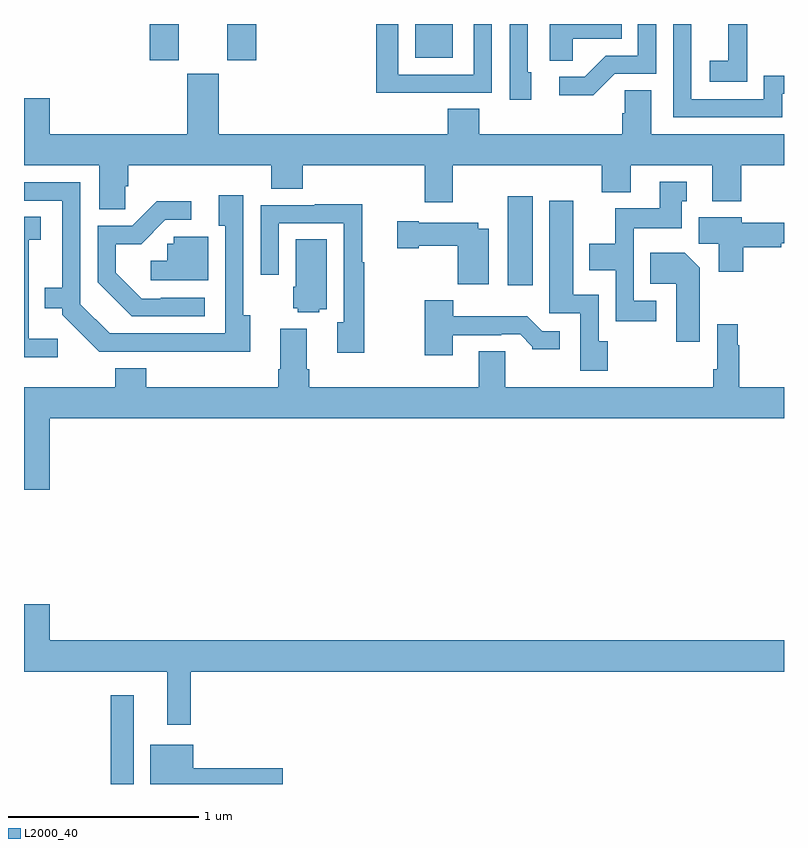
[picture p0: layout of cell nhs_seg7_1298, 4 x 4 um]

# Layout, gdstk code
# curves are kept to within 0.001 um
import gdstk
lib = gdstk.Library(unit=1e-6, precision=1e-09)
def R(c, l, rs):  # rectangles x0, y0, x1, y1
    for r in rs: c.add(gdstk.rectangle(r[:2], r[2:], *l))
def P(c, l, *ps):  # polygons
    for p in ps: c.add(gdstk.Polygon(p, *l))
L2000_40 = (2000, 40)

nhs_seg7_1298 = lib.new_cell('nhs_seg7_1298')
R(nhs_seg7_1298, L2000_40, [(201.456,1024,201.577,1024.468), (203.546,1026.624,203.677,1027.093), (201.662,1027.809,201.814,1028), (202.07,1027.809,202.223,1028), (203.06,1027.823,203.257,1028)])
P(nhs_seg7_1298, L2000_40, [(204.991,1027.632),(205,1027.632),(205,1027.728),(204.894,1027.728),(204.894,1027.605),(204.513,1027.605),(204.513,1028),(204.417,1028),(204.417,1027.509),(204.991,1027.509)],
  [(203.671,1027.746),(203.652,1027.746),(203.652,1028),(203.556,1028),(203.556,1027.602),(203.671,1027.602)],
  [(203.889,1027.922),(204.146,1027.922),(204.146,1028),(203.768,1028),(203.768,1027.807),(203.889,1027.807)],
  [(204.108,1027.737),(204.327,1027.737),(204.327,1028),(204.231,1028),(204.231,1027.833),(204.062,1027.833),(203.951,1027.722),(203.817,1027.722),(203.817,1027.625),(203.995,1027.625)],
  [(203.147,1027.638),(203.463,1027.638),(203.463,1028),(203.367,1028),(203.367,1027.734),(202.971,1027.734),(202.971,1028),(202.855,1028),(202.855,1027.637),(203.147,1027.637)],
  [(204.807,1027.903),(204.806,1027.903),(204.806,1028),(204.707,1028),(204.707,1027.807),(204.609,1027.807),(204.609,1027.697),(204.807,1027.697)],
  [(201.533,1027.146),(201.548,1027.146),(201.548,1027.256),(202.301,1027.256),(202.301,1027.132),(202.466,1027.132),(202.466,1027.256),(203.11,1027.256),(203.11,1027.062),(203.257,1027.062),(203.257,1027.256),(204.041,1027.256),(204.041,1027.115),(204.193,1027.115),(204.193,1027.256),(204.623,1027.256),(204.623,1027.067),(204.776,1027.067),(204.776,1027.256),(205,1027.256),(205,1027.42),(204.301,1027.42),(204.301,1027.652),(204.162,1027.652),(204.162,1027.529),(204.149,1027.529),(204.149,1027.42),(203.396,1027.42),(203.396,1027.553),(203.231,1027.553),(203.231,1027.42),(202.024,1027.42),(202.024,1027.737),(201.86,1027.737),(201.86,1027.42),(201.136,1027.42),(201.136,1027.609),(201,1027.609),(201,1027.256),(201.395,1027.256),(201.395,1027.024),(201.533,1027.024)],
  [(204.328,1026.543),(204.21,1026.543),(204.21,1026.926),(204.463,1026.926),(204.463,1027.068),(204.487,1027.068),(204.487,1027.171),(204.347,1027.171),(204.347,1027.03),(204.112,1027.03),(204.112,1026.844),(203.975,1026.844),(203.975,1026.704),(204.114,1026.704),(204.114,1026.435),(204.328,1026.435)],
  [(202.192,1026.466),(202.155,1026.466),(202.155,1027.099),(202.025,1027.099),(202.025,1026.938),(202.059,1026.938),(202.059,1026.372),(201.45,1026.372),(201.297,1026.525),(201.297,1027.167),(201,1027.167),(201,1027.071),(201.2,1027.071),(201.2,1026.613),(201.109,1026.613),(201.109,1026.503),(201.201,1026.503),(201.201,1026.471),(201.396,1026.276),(202.192,1026.275)],
  [(204.072,1026.33),(204.024,1026.33),(204.024,1026.574),(203.89,1026.574),(203.89,1027.069),(203.765,1027.069),(203.765,1026.477),(203.928,1026.477),(203.928,1026.174),(204.072,1026.174)],
  [(201.952,1026.558),(201.721,1026.558),(201.721,1026.555),(201.621,1026.555),(201.484,1026.692),(201.484,1026.842),(201.617,1026.842),(201.744,1026.969),(201.88,1026.969),(201.88,1027.067),(201.698,1027.067),(201.57,1026.939),(201.387,1026.939),(201.387,1026.641),(201.566,1026.462),(201.952,1026.462)],
  [(202.792,1026.747),(202.781,1026.747),(202.781,1027.051),(202.529,1027.051),(202.529,1027.047),(202.245,1027.047),(202.245,1026.68),(202.341,1026.68),(202.341,1026.951),(202.683,1026.951),(202.683,1026.43),(202.649,1026.43),(202.649,1026.27),(202.792,1026.27)],
  [(201.178,1026.343),(201.024,1026.343),(201.024,1026.865),(201.088,1026.865),(201.088,1026.986),(201,1026.986),(201,1026.245),(201.178,1026.245)],
  [(204.786,1026.826),(204.986,1026.826),(204.986,1026.846),(205,1026.846),(205,1026.955),(204.778,1026.955),(204.778,1026.982),(204.551,1026.982),(204.551,1026.844),(204.656,1026.844),(204.656,1026.696),(204.786,1026.696)],
  [(203.446,1026.922),(203.391,1026.922),(203.391,1026.955),(203.077,1026.955),(203.077,1026.963),(202.965,1026.963),(202.965,1026.821),(203.077,1026.821),(203.077,1026.833),(203.284,1026.833),(203.284,1026.629),(203.446,1026.629)],
  [(201.97,1026.879),(201.789,1026.879),(201.789,1026.843),(201.753,1026.843),(201.753,1026.754),(201.666,1026.754),(201.666,1026.651),(201.97,1026.651)],
  [(202.554,1026.5),(202.594,1026.5),(202.594,1026.866),(202.43,1026.866),(202.43,1026.618),(202.418,1026.618),(202.418,1026.504),(202.44,1026.504),(202.44,1026.482),(202.554,1026.482)],
  [(204.556,1026.718),(204.478,1026.796),(204.295,1026.796),(204.295,1026.632),(204.434,1026.632),(204.434,1026.327),(204.556,1026.327)],
  [(203.257,1026.363),(203.513,1026.363),(203.513,1026.366),(203.612,1026.366),(203.676,1026.302),(203.676,1026.287),(203.821,1026.287),(203.821,1026.384),(203.727,1026.384),(203.649,1026.463),(203.26,1026.463),(203.26,1026.547),(203.11,1026.547),(203.11,1026.257),(203.257,1026.257)],
  [(201.136,1025.924),(205,1025.924),(205,1026.088),(204.764,1026.088),(204.764,1026.308),(204.757,1026.308),(204.757,1026.421),(204.648,1026.421),(204.648,1026.184),(204.628,1026.184),(204.628,1026.088),(203.533,1026.088),(203.533,1026.278),(203.393,1026.278),(203.393,1026.088),(202.502,1026.088),(202.502,1026.184),(202.489,1026.184),(202.489,1026.397),(202.349,1026.397),(202.349,1026.184),(202.337,1026.184),(202.337,1026.088),(201.644,1026.088),(201.644,1026.187),(201.479,1026.187),(201.479,1026.088),(201,1026.088),(201,1025.55),(201.136,1025.55)],
  [(201.877,1024.592),(205,1024.592),(205,1024.756),(201.136,1024.756),(201.136,1024.945),(201,1024.945),(201,1024.592),(201.755,1024.592),(201.755,1024.311),(201.877,1024.311)],
  [(202.363,1024.082),(201.892,1024.082),(201.892,1024.207),(201.665,1024.207),(201.665,1024),(202.363,1024)])

lib.write_gds('nhs_seg7_1298.gds')
